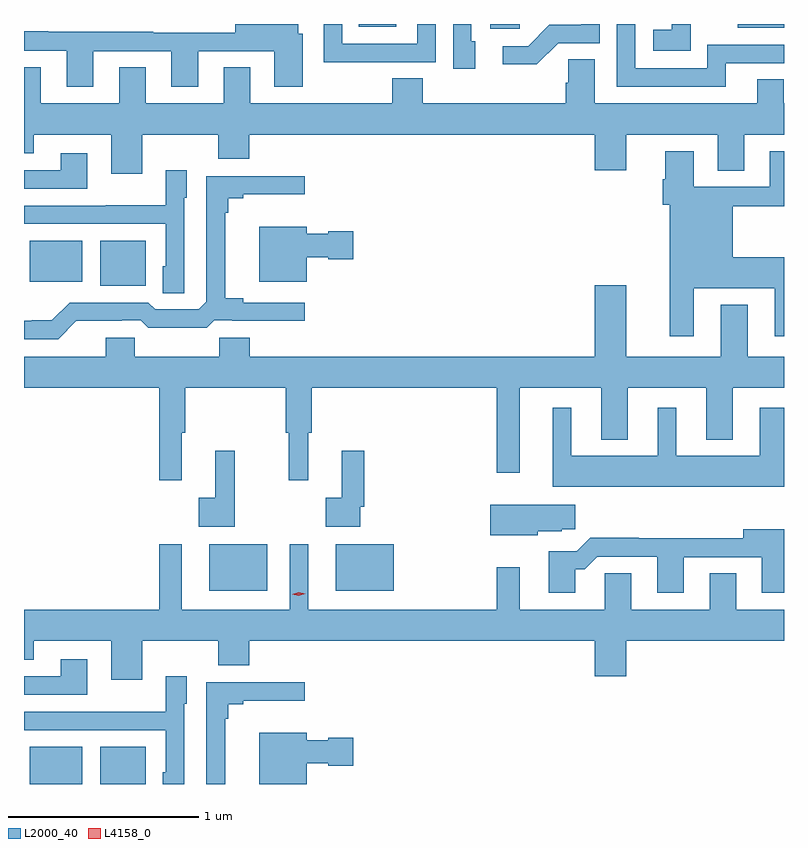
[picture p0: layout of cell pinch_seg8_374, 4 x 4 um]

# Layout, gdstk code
import gdstk
lib = gdstk.Library(unit=1e-6, precision=1e-09)
def R(c, l, rs):  # rectangles x0, y0, x1, y1
    for r in rs: c.add(gdstk.rectangle(r[:2], r[2:], *l))
def P(c, l, *ps):  # polygons
    for p in ps: c.add(gdstk.Polygon(p, *l))
L2000_40 = (2000, 40)
L4158_0 = (4158, 0)

pinch_seg8_374 = lib.new_cell('pinch_seg8_374')
R(pinch_seg8_374, L2000_40, [(449.744,1111.75,450.022,1111.945), (450.116,1111.75,450.355,1111.945), (450.689,1112.768,450.994,1113.013), (451.355,1112.768,451.66,1113.013), (450.116,1114.373,450.355,1114.609), (449.744,1114.394,450.022,1114.609), (452.168,1115.726,452.325,1115.75), (453.472,1115.73,453.715,1115.75), (451.478,1115.735,451.675,1115.75)])
P(pinch_seg8_374, L2000_40, [(453.225,1115.75),(453.125,1115.75),(453.125,1115.719),(453.027,1115.719),(453.027,1115.609),(453.225,1115.609)],
  [(452.526,1115.649),(452.745,1115.649),(452.745,1115.75),(452.649,1115.75),(452.649,1115.745),(452.48,1115.745),(452.369,1115.634),(452.235,1115.634),(452.235,1115.537),(452.413,1115.537)],
  [(453.409,1115.544),(453.715,1115.544),(453.715,1115.64),(453.312,1115.64),(453.312,1115.517),(452.931,1115.517),(452.931,1115.75),(452.835,1115.75),(452.835,1115.421),(453.409,1115.421)],
  [(452.089,1115.658),(452.07,1115.658),(452.07,1115.75),(451.974,1115.75),(451.974,1115.514),(452.089,1115.514)],
  [(450.079,1115.607),(450.491,1115.607),(450.491,1115.421),(450.631,1115.421),(450.631,1115.607),(451.031,1115.607),(451.031,1115.421),(451.183,1115.421),(451.183,1115.7),(451.159,1115.7),(451.159,1115.75),(450.827,1115.75),(450.827,1115.704),(450.395,1115.704),(450.395,1115.708),(449.843,1115.708),(449.843,1115.711),(449.715,1115.711),(449.715,1115.61),(449.939,1115.61),(449.939,1115.421),(450.079,1115.421)],
  [(451.565,1115.55),(451.881,1115.55),(451.881,1115.75),(451.785,1115.75),(451.785,1115.646),(451.389,1115.646),(451.389,1115.75),(451.293,1115.75),(451.293,1115.549),(451.565,1115.549)],
  [(450.337,1115.168),(450.737,1115.168),(450.737,1115.04),(450.901,1115.04),(450.901,1115.168),(452.72,1115.168),(452.72,1114.98),(452.884,1114.98),(452.884,1115.168),(453.365,1115.168),(453.365,1114.978),(453.505,1114.978),(453.505,1115.168),(453.715,1115.168),(453.715,1115.332),(453.714,1115.332),(453.714,1115.459),(453.575,1115.459),(453.575,1115.332),(452.719,1115.332),(452.719,1115.564),(452.58,1115.564),(452.58,1115.441),(452.567,1115.441),(452.567,1115.332),(451.814,1115.332),(451.814,1115.465),(451.654,1115.465),(451.654,1115.332),(450.907,1115.332),(450.907,1115.522),(450.767,1115.522),(450.767,1115.332),(450.355,1115.332),(450.355,1115.522),(450.215,1115.522),(450.215,1115.332),(449.803,1115.332),(449.803,1115.522),(449.715,1115.522),(449.715,1115.069),(449.767,1115.069),(449.767,1115.168),(450.173,1115.168),(450.173,1114.962),(450.337,1114.962)],
  [(453.241,1114.358),(453.665,1114.358),(453.665,1114.107),(453.715,1114.107),(453.715,1114.522),(453.445,1114.522),(453.445,1114.792),(453.715,1114.792),(453.715,1115.08),(453.641,1115.08),(453.641,1114.893),(453.241,1114.893),(453.241,1115.08),(453.089,1115.08),(453.089,1114.934),(453.077,1114.934),(453.077,1114.8),(453.113,1114.8),(453.113,1114.107),(453.241,1114.107)],
  [(450.049,1115.071),(449.909,1115.071),(449.909,1114.98),(449.715,1114.98),(449.715,1114.884),(450.049,1114.884)],
  [(450.558,1114.836),(450.571,1114.836),(450.571,1114.981),(450.462,1114.981),(450.462,1114.795),(450.145,1114.795),(450.145,1114.794),(449.715,1114.794),(449.715,1114.698),(450.462,1114.698),(450.462,1114.476),(450.446,1114.476),(450.446,1114.333),(450.558,1114.333)],
  [(449.99,1114.187),(450.23,1114.187),(450.23,1114.191),(450.33,1114.191),(450.37,1114.152),(450.677,1114.152),(450.717,1114.191),(450.811,1114.191),(450.811,1114.187),(451.192,1114.187),(451.192,1114.284),(450.868,1114.284),(450.868,1114.307),(450.773,1114.307),(450.773,1114.757),(450.791,1114.757),(450.791,1114.834),(450.868,1114.834),(450.868,1114.853),(451.192,1114.853),(451.192,1114.95),(450.675,1114.95),(450.675,1114.287),(450.636,1114.248),(450.405,1114.248),(450.369,1114.284),(449.955,1114.284),(449.861,1114.19),(449.756,1114.19),(449.756,1114.188),(449.715,1114.188),(449.715,1114.092),(449.895,1114.092)],
  [(451.204,1114.523),(451.317,1114.523),(451.317,1114.511),(451.447,1114.511),(451.447,1114.658),(451.317,1114.658),(451.317,1114.645),(451.204,1114.645),(451.204,1114.684),(450.953,1114.684),(450.953,1114.394),(451.204,1114.394)],
  [(450.545,1113.6),(450.563,1113.6),(450.563,1113.836),(451.093,1113.836),(451.093,1113.6),(451.108,1113.6),(451.108,1113.348),(451.211,1113.348),(451.211,1113.6),(451.229,1113.6),(451.229,1113.836),(452.202,1113.836),(452.202,1113.387),(452.323,1113.387),(452.323,1113.836),(452.753,1113.836),(452.753,1113.563),(452.893,1113.563),(452.893,1113.836),(453.305,1113.836),(453.305,1113.563),(453.445,1113.563),(453.445,1113.836),(453.715,1113.836),(453.715,1114),(453.523,1114),(453.523,1114.273),(453.383,1114.273),(453.383,1114),(452.884,1114),(452.884,1114.375),(452.72,1114.375),(452.72,1114),(450.902,1114),(450.902,1114.098),(450.742,1114.098),(450.742,1114),(450.297,1114),(450.297,1114.098),(450.146,1114.098),(450.146,1114),(449.715,1114),(449.715,1113.836),(450.427,1113.836),(450.427,1113.348),(450.545,1113.348)],
  [(453.715,1113.73),(453.587,1113.73),(453.587,1113.478),(453.148,1113.478),(453.148,1113.73),(453.05,1113.73),(453.05,1113.478),(452.596,1113.478),(452.596,1113.73),(452.498,1113.73),(452.498,1113.314),(453.715,1113.314)],
  [(450.824,1113.505),(450.722,1113.505),(450.722,1113.257),(450.636,1113.257),(450.636,1113.104),(450.824,1113.104)],
  [(451.485,1113.208),(451.505,1113.208),(451.505,1113.505),(451.388,1113.505),(451.388,1113.257),(451.302,1113.257),(451.302,1113.104),(451.485,1113.104)],
  [(452.418,1113.08),(452.544,1113.08),(452.544,1113.091),(452.617,1113.091),(452.617,1113.22),(452.168,1113.22),(452.168,1113.059),(452.418,1113.059)],
  [(452.617,1112.879),(452.666,1112.879),(452.733,1112.946),(453.047,1112.946),(453.047,1112.757),(453.187,1112.757),(453.187,1112.943),(453.599,1112.943),(453.599,1112.757),(453.715,1112.757),(453.715,1113.091),(453.5,1113.091),(453.5,1113.044),(452.951,1113.044),(452.951,1113.047),(452.696,1113.047),(452.625,1112.976),(452.477,1112.976),(452.477,1112.757),(452.617,1112.757)],
  [(450.337,1112.504),(450.737,1112.504),(450.737,1112.376),(450.901,1112.376),(450.901,1112.504),(452.72,1112.504),(452.72,1112.316),(452.884,1112.316),(452.884,1112.504),(453.715,1112.504),(453.715,1112.668),(453.463,1112.668),(453.463,1112.858),(453.323,1112.858),(453.323,1112.668),(452.911,1112.668),(452.911,1112.858),(452.772,1112.858),(452.772,1112.668),(452.323,1112.668),(452.323,1112.89),(452.202,1112.89),(452.202,1112.668),(451.21,1112.668),(451.21,1113.013),(451.113,1113.013),(451.113,1112.668),(450.544,1112.668),(450.544,1113.013),(450.427,1113.013),(450.427,1112.668),(449.715,1112.668),(449.715,1112.405),(449.767,1112.405),(449.767,1112.504),(450.173,1112.504),(450.173,1112.298),(450.337,1112.298)],
  [(450.049,1112.407),(449.909,1112.407),(449.909,1112.316),(449.715,1112.316),(449.715,1112.22),(450.049,1112.22)],
  [(450.558,1112.172),(450.571,1112.172),(450.571,1112.317),(450.462,1112.317),(450.462,1112.131),(450.145,1112.131),(450.145,1112.13),(449.715,1112.13),(449.715,1112.034),(450.462,1112.034),(450.462,1111.812),(450.446,1111.812),(450.446,1111.75),(450.558,1111.75)],
  [(450.773,1112.093),(450.791,1112.093),(450.791,1112.17),(450.868,1112.17),(450.868,1112.189),(451.192,1112.189),(451.192,1112.286),(450.675,1112.286),(450.675,1111.75),(450.773,1111.75)],
  [(451.204,1111.859),(451.317,1111.859),(451.317,1111.847),(451.447,1111.847),(451.447,1111.994),(451.317,1111.994),(451.317,1111.981),(451.204,1111.981),(451.204,1112.02),(450.953,1112.02),(450.953,1111.75),(451.204,1111.75)])
P(pinch_seg8_374, L4158_0, [(451.161,1112.74),(451.127,1112.749),(451.127,1112.75),(451.127,1112.75),(451.161,1112.76),(451.196,1112.751),(451.196,1112.751),(451.196,1112.751)])

lib.write_gds('pinch_seg8_374.gds')
